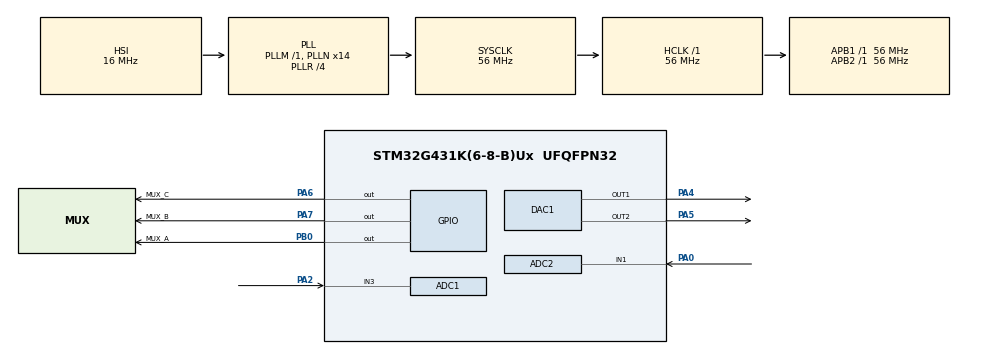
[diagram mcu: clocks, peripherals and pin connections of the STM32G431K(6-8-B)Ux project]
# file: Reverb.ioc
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ADC1.Channel-0\#ChannelRegularConversion=ADC_CHANNEL_3
ADC1.ContinuousConvMode=DISABLE
ADC1.DMAContinuousRequests=ENABLE
ADC1.DataAlign=ADC_DATAALIGN_RIGHT
ADC1.ExternalTrigConv=ADC_EXTERNALTRIG_T3_TRGO
ADC1.NbrOfConversion=1
ADC1.NbrOfConversionFlag=1
ADC1.OffsetNumber-0\#ChannelRegularConversion=ADC_OFFSET_NONE
ADC1.Rank-0\#ChannelRegularConversion=1
ADC1.Resolution=ADC_RESOLUTION_10B
ADC1.SamplingTime-0\#ChannelRegularConversion=ADC_SAMPLETIME_247CYCLES_5
ADC1.master=1
ADC2.Channel-1\#ChannelRegularConversion=ADC_CHANNEL_1
ADC2.ContinuousConvMode=DISABLE
ADC2.DMAContinuousRequests=ENABLE
ADC2.ExternalTrigConv=ADC_EXTERNALTRIG_T2_TRGO
ADC2.NbrOfConversionFlag=1
ADC2.OffsetNumber-1\#ChannelRegularConversion=ADC_OFFSET_NONE
ADC2.OversamplingMode=DISABLE
ADC2.Rank-1\#ChannelRegularConversion=1
ADC2.SamplingTime-1\#ChannelRegularConversion=ADC_SAMPLETIME_247CYCLES_5
DAC1.DAC_Channel-DAC_OUT2=DAC_CHANNEL_2
DAC1.DAC_SampleAndHold-DAC_OUT1=DAC_SAMPLEANDHOLD_DISABLE
DAC1.DAC_SampleAndHold-DAC_OUT2=DAC_SAMPLEANDHOLD_DISABLE
DAC1.DAC_Trigger_OUT1-DAC_OUT1=DAC_TRIGGER_NONE
Dma.ADC1.0.Direction=DMA_PERIPH_TO_MEMORY
Dma.ADC1.0.EventEnable=DISABLE
Dma.ADC1.0.Instance=DMA1_Channel2
Dma.ADC1.0.MemDataAlignment=DMA_MDATAALIGN_HALFWORD
Dma.ADC1.0.MemInc=DMA_MINC_DISABLE
Dma.ADC1.0.Mode=DMA_CIRCULAR
Dma.ADC1.0.PeriphDataAlignment=DMA_PDATAALIGN_HALFWORD
Dma.ADC1.0.PeriphInc=DMA_PINC_DISABLE
Dma.ADC1.0.Polarity=HAL_DMAMUX_REQ_GEN_RISING
Dma.ADC1.0.Priority=DMA_PRIORITY_LOW
Dma.ADC1.0.RequestNumber=1
Dma.ADC1.0.SignalID=NONE
Dma.ADC1.0.SyncEnable=DISABLE
Dma.ADC1.0.SyncPolarity=HAL_DMAMUX_SYNC_NO_EVENT
Dma.ADC1.0.SyncRequestNumber=1
Dma.ADC1.0.SyncSignalID=NONE
Dma.ADC2.1.Direction=DMA_PERIPH_TO_MEMORY
Dma.ADC2.1.EventEnable=DISABLE
Dma.ADC2.1.Instance=DMA1_Channel1
Dma.ADC2.1.MemDataAlignment=DMA_MDATAALIGN_HALFWORD
Dma.ADC2.1.MemInc=DMA_MINC_DISABLE
Dma.ADC2.1.Mode=DMA_CIRCULAR
Dma.ADC2.1.PeriphDataAlignment=DMA_PDATAALIGN_HALFWORD
Dma.ADC2.1.PeriphInc=DMA_PINC_DISABLE
Dma.ADC2.1.Polarity=HAL_DMAMUX_REQ_GEN_RISING
Dma.ADC2.1.Priority=DMA_PRIORITY_VERY_HIGH
Dma.ADC2.1.RequestNumber=1
Dma.ADC2.1.SignalID=NONE
Dma.ADC2.1.SyncEnable=DISABLE
Dma.ADC2.1.SyncPolarity=HAL_DMAMUX_SYNC_NO_EVENT
Dma.ADC2.1.SyncRequestNumber=1
Dma.ADC2.1.SyncSignalID=NONE
Dma.Request0=ADC1
Dma.Request1=ADC2
Mcu.Family=STM32G4
Mcu.Name=STM32G431K(6-8-B)Ux
Mcu.Package=UFQFPN32
NVIC.DMA1_Channel1_IRQn=true\:1\:0\:true\:false\:true\:true\:true\:true
NVIC.DMA1_Channel2_IRQn=true\:2\:0\:true\:false\:true\:true\:true\:true
NVIC.PriorityGroup=NVIC_PRIORITYGROUP_4
NVIC.TIM2_IRQn=true\:0\:0\:false\:false\:true\:true\:true\:true
NVIC.TIM3_IRQn=true\:2\:0\:true\:false\:true\:true\:true\:true
PA0.Mode=IN1-Single-Ended
PA0.Signal=ADC2_IN1
PA2.Mode=IN3-Single-Ended
PA2.Signal=ADC1_IN3
PA4.Signal=COMP_DAC11_group
PA5.Signal=COMP_DAC12_group
PA6.GPIO_Label=MUX_C
PA6.Signal=GPIO_Output
PA7.GPIO_Label=MUX_B
PA7.Signal=GPIO_Output
PB0.GPIO_Label=MUX_A
PB0.Signal=GPIO_Output
ProjectManager.HeapSize=0x00
ProjectManager.StackSize=0x400
ProjectManager.TargetToolchain=STM32CubeIDE
RCC.ADC12Freq_Value=56000000
RCC.AHBFreq_Value=56000000
RCC.APB1Freq_Value=56000000
RCC.APB1TimFreq_Value=56000000
RCC.APB2Freq_Value=56000000
RCC.APB2TimFreq_Value=56000000
RCC.CortexFreq_Value=56000000
RCC.EXTERNAL_CLOCK_VALUE=12288000
RCC.HCLKFreq_Value=56000000
RCC.HSE_VALUE=8000000
RCC.HSI48_VALUE=48000000
RCC.HSI_VALUE=16000000
RCC.LSE_VALUE=32768
RCC.PLLN=14
RCC.PLLR=RCC_PLLR_DIV4
RCC.SYSCLKFreq_VALUE=56000000
RCC.SYSCLKSource=RCC_SYSCLKSOURCE_PLLCLK
RCC.USBFreq_Value=112000000
RCC.VCOOutputFreq_Value=224000000
SH.COMP_DAC11_group.0=DAC1_OUT1,DAC_OUT1
SH.COMP_DAC12_group.0=DAC1_OUT2,DAC_OUT2
TIM2.PeriodNoDither=1700
TIM2.TIM_MasterOutputTrigger=TIM_TRGO_UPDATE
TIM3.PeriodNoDither=8000
TIM3.TIM_MasterOutputTrigger=TIM_TRGO_UPDATE
VP_SYS_VS_DBSignals.Mode=DisableDeadBatterySignals
VP_TIM2_VS_ClockSourceINT.Mode=Internal
VP_TIM3_VS_ClockSourceINT.Mode=Internal
board=custom

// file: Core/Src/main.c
/* USER CODE BEGIN Header */
/**
 ******************************************************************************
 * @file           : main.c
 * @brief          : Main program body
 ******************************************************************************
 * @attention
 *
 * Copyright (c) 2022 STMicroelectronics.
 * All rights reserved.
 *
 * This software is licensed under terms that can be found in the LICENSE file
 * in the root directory of this software component.
 * If no LICENSE file comes with this software, it is provided AS-IS.
 *
 ******************************************************************************
 */
/* USER CODE END Header */
#include "main.h"
#include "adc.h"
#include "dac.h"
#include "dma.h"
#include "tim.h"
#include "gpio.h"

/* USER CODE BEGIN Includes */
#include "sandbox.h"

/* USER CODE END Includes */

/* USER CODE BEGIN PV */
volatile uint8_t mux_channel;

/* USER CODE END PV */

void SystemClock_Config(void);
/* USER CODE BEGIN PFP */
void DWT_Start();
/* USER CODE END PFP */

int main(void)
{

  /* MCU Configuration--------------------------------------------------------*/

  /* Reset of all peripherals, Initializes the Flash interface and the Systick. */
  HAL_Init();

  /* Configure the system clock */
  SystemClock_Config();

  /* Initialize all configured peripherals */
  MX_GPIO_Init();
  MX_DMA_Init();
  MX_ADC1_Init();
  MX_ADC2_Init();
  MX_DAC1_Init();
  MX_TIM2_Init();
  MX_TIM3_Init();
  /* USER CODE BEGIN 2 */
	sandbox_init();
	DAC_Start();
	//HAL_DAC_Start_DMA(&hdac1, DAC_CHANNEL_1, (uint32_t*)output_buffer, OUTPUT_BUFFER_LENGTH, DAC_ALIGN_12B_R);
	ADC1_Start();
	ADC2_Start();
	TIM2_Start();
	TIM3_Start();
	DWT_Start();
  /* USER CODE END 2 */

  /* Infinite loop */
	while (1) {

	}
}

void SystemClock_Config(void)
{
  RCC_OscInitTypeDef RCC_OscInitStruct = {0};
  RCC_ClkInitTypeDef RCC_ClkInitStruct = {0};

  /** Configure the main internal regulator output voltage
  */
  HAL_PWREx_ControlVoltageScaling(PWR_REGULATOR_VOLTAGE_SCALE1);
  /** Initializes the RCC Oscillators according to the specified parameters
  * in the RCC_OscInitTypeDef structure.
  */
  RCC_OscInitStruct.OscillatorType = RCC_OSCILLATORTYPE_HSI;
  RCC_OscInitStruct.HSIState = RCC_HSI_ON;
  RCC_OscInitStruct.HSICalibrationValue = RCC_HSICALIBRATION_DEFAULT;
  RCC_OscInitStruct.PLL.PLLState = RCC_PLL_ON;
  RCC_OscInitStruct.PLL.PLLSource = RCC_PLLSOURCE_HSI;
  RCC_OscInitStruct.PLL.PLLM = RCC_PLLM_DIV1;
  RCC_OscInitStruct.PLL.PLLN = 14;
  RCC_OscInitStruct.PLL.PLLP = RCC_PLLP_DIV2;
  RCC_OscInitStruct.PLL.PLLQ = RCC_PLLQ_DIV2;
  RCC_OscInitStruct.PLL.PLLR = RCC_PLLR_DIV4;
  if (HAL_RCC_OscConfig(&RCC_OscInitStruct) != HAL_OK)
  {
    Error_Handler();
  }
  /** Initializes the CPU, AHB and APB buses clocks
  */
  RCC_ClkInitStruct.ClockType = RCC_CLOCKTYPE_HCLK|RCC_CLOCKTYPE_SYSCLK
                              |RCC_CLOCKTYPE_PCLK1|RCC_CLOCKTYPE_PCLK2;
  RCC_ClkInitStruct.SYSCLKSource = RCC_SYSCLKSOURCE_PLLCLK;
  RCC_ClkInitStruct.AHBCLKDivider = RCC_SYSCLK_DIV1;
  RCC_ClkInitStruct.APB1CLKDivider = RCC_HCLK_DIV1;
  RCC_ClkInitStruct.APB2CLKDivider = RCC_HCLK_DIV1;

  if (HAL_RCC_ClockConfig(&RCC_ClkInitStruct, FLASH_LATENCY_1) != HAL_OK)
  {
    Error_Handler();
  }
}

/* USER CODE BEGIN 4 */

void HAL_ADC_ConvCpltCallback(ADC_HandleTypeDef *hadc) {

	if (hadc->Instance == ADC1) {

		ADC1_channel_data[mux_channel++] = ADC1_raw_data;
		if (mux_channel > (NUM_ADC1_CHANNELS-1)) {
			mux_channel = 0;
		}

		HAL_GPIO_WritePin(MUX_A_GPIO_Port, MUX_A_Pin,
				(GPIO_PinState) (mux_channel & 1));
		HAL_GPIO_WritePin(MUX_B_GPIO_Port, MUX_B_Pin,
				(GPIO_PinState) ((mux_channel >> 1) & 1));
		HAL_GPIO_WritePin(MUX_C_GPIO_Port, MUX_C_Pin,
				(GPIO_PinState) ((mux_channel >> 2) & 1));

	}
}

void DWT_Start() {
	CoreDebug->DEMCR |= CoreDebug_DEMCR_TRCENA_Msk;
	DWT->CYCCNT = 0;
	DWT->CTRL |= DWT_CTRL_CYCCNTENA_Msk;
}

/* USER CODE END 4 */

void Error_Handler(void)
{
	__disable_irq();
	while (1) {
	}
}
